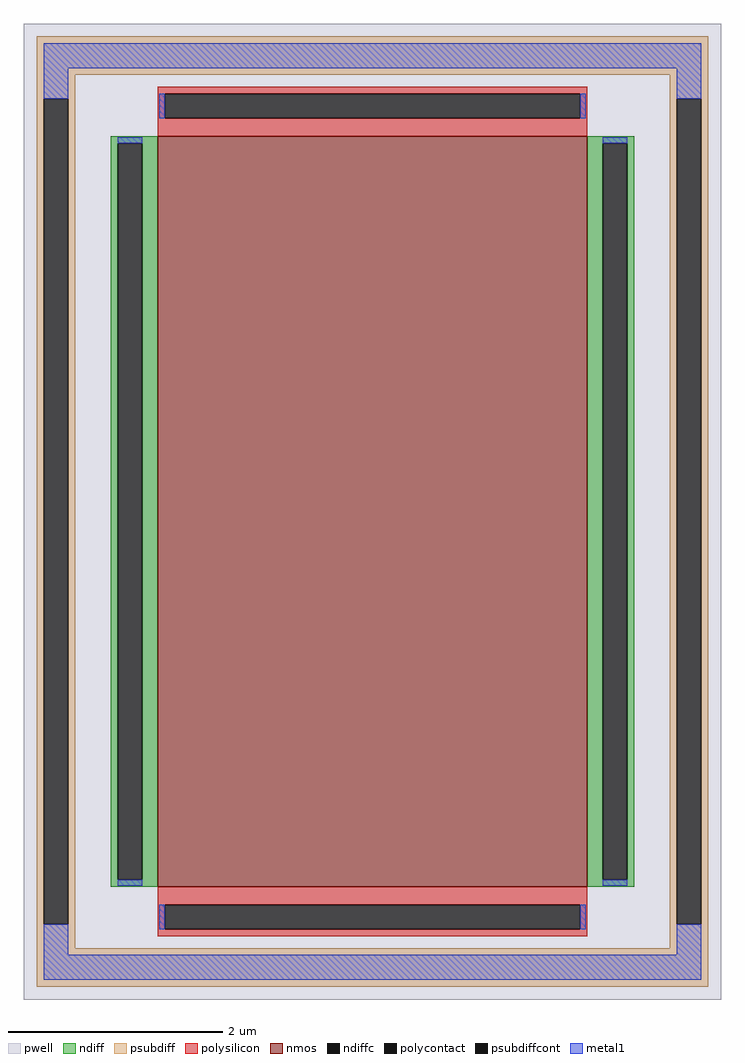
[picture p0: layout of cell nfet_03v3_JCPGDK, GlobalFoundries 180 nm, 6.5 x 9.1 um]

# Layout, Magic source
magic
tech gf180mcuD
magscale 1 10
<< pwell >>
rect -650 -910 650 910
<< nmos >>
rect -400 -700 400 700
<< ndiff >>
rect -488 687 -400 700
rect -488 -687 -475 687
rect -429 -687 -400 687
rect -488 -700 -400 -687
rect 400 687 488 700
rect 400 -687 429 687
rect 475 -687 488 687
rect 400 -700 488 -687
<< ndiffc >>
rect -475 -687 -429 687
rect 429 -687 475 687
<< psubdiff >>
rect -626 814 626 886
rect -626 770 -554 814
rect -626 -770 -613 770
rect -567 -770 -554 770
rect 554 770 626 814
rect -626 -814 -554 -770
rect 554 -770 567 770
rect 613 -770 626 770
rect 554 -814 626 -770
rect -626 -886 626 -814
<< psubdiffcont >>
rect -613 -770 -567 770
rect 567 -770 613 770
<< polysilicon >>
rect -400 779 400 792
rect -400 733 -387 779
rect 387 733 400 779
rect -400 700 400 733
rect -400 -733 400 -700
rect -400 -779 -387 -733
rect 387 -779 400 -733
rect -400 -792 400 -779
<< polycontact >>
rect -387 733 387 779
rect -387 -779 387 -733
<< metal1 >>
rect -613 827 613 873
rect -613 770 -567 827
rect -398 733 -387 779
rect 387 733 398 779
rect 567 770 613 827
rect -475 687 -429 698
rect -475 -698 -429 -687
rect 429 687 475 698
rect 429 -698 475 -687
rect -613 -827 -567 -770
rect -398 -779 -387 -733
rect 387 -779 398 -733
rect 567 -827 613 -770
rect -613 -873 613 -827
<< properties >>
string FIXED_BBOX -590 -850 590 850
string gencell nfet_03v3
string library gf180mcu
string parameters w 7 l 4 m 1 nf 1 diffcov 100 polycov 100 guard 1 glc 1 grc 1 gtc 0 gbc 0 tbcov 100 rlcov 100 topc 1 botc 1 poverlap 0 doverlap 1 lmin 0.28 wmin 0.22 class mosfet full_metal 1 compatible {nfet_03v3 nfet_05v0 nfet_06v0 nfet_06v0_nvt}
<< end >>
